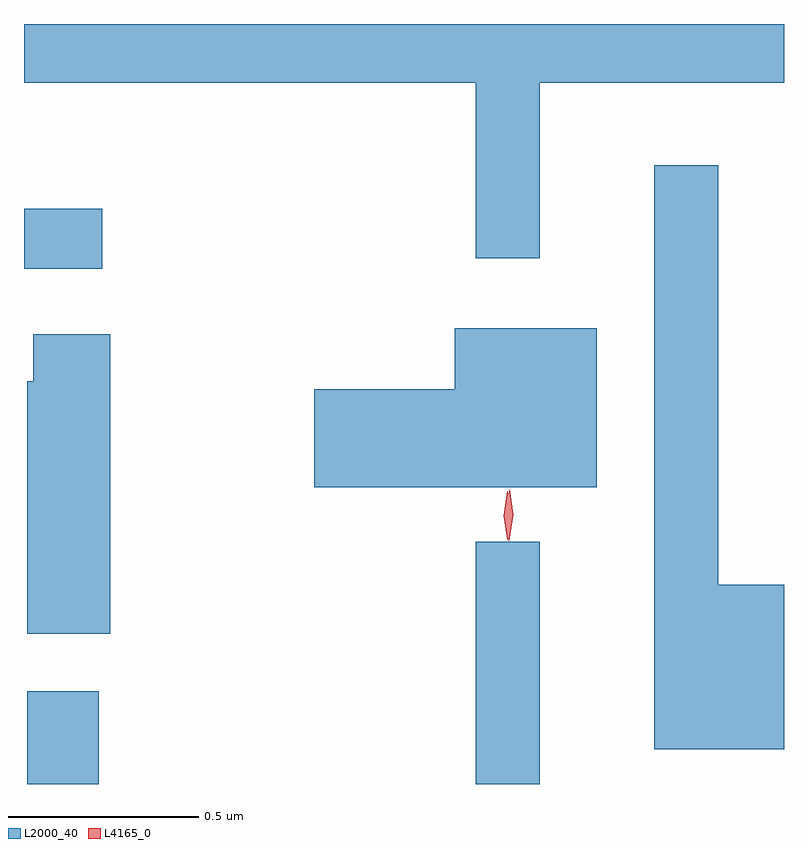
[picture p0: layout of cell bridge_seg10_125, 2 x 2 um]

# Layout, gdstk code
import gdstk
lib = gdstk.Library(unit=1e-6, precision=1e-09)
def R(c, l, rs):  # rectangles x0, y0, x1, y1
    for r in rs: c.add(gdstk.rectangle(r[:2], r[2:], *l))
def P(c, l, *ps):  # polygons
    for p in ps: c.add(gdstk.Polygon(p, *l))
L2000_40 = (2000, 40)
L4165_0 = (4165, 0)

bridge_seg10_125 = lib.new_cell('bridge_seg10_125')
R(bridge_seg10_125, L2000_40, [(1546.541,2145.37,1546.729,2145.614), (1547.721,2145.37,1547.889,2146.008), (1546.532,2146.726,1546.738,2146.884)])
P(bridge_seg10_125, L2000_40, [(1547.889,2147.216),(1548.532,2147.216),(1548.532,2147.37),(1546.532,2147.37),(1546.532,2147.216),(1547.721,2147.216),(1547.721,2146.753),(1547.889,2146.753)],
  [(1548.532,2145.894),(1548.359,2145.894),(1548.359,2146.998),(1548.191,2146.998),(1548.191,2145.461),(1548.532,2145.461)],
  [(1548.039,2146.569),(1547.666,2146.569),(1547.666,2146.409),(1547.296,2146.409),(1547.296,2146.151),(1548.039,2146.151)],
  [(1546.759,2146.554),(1546.556,2146.554),(1546.556,2146.43),(1546.541,2146.43),(1546.541,2145.766),(1546.759,2145.766)])
P(bridge_seg10_125, L4165_0, [(1547.805,2146.013),(1547.804,2146.014),(1547.795,2146.076),(1547.804,2146.14),(1547.805,2146.14),(1547.805,2146.14),(1547.815,2146.076),(1547.805,2146.014)],
  [(1547.808,2146.01),(1547.808,2146.01),(1547.799,2146.078),(1547.81,2146.146),(1547.81,2146.146),(1547.81,2146.146),(1547.819,2146.078),(1547.809,2146.01)])

lib.write_gds('bridge_seg10_125.gds')
